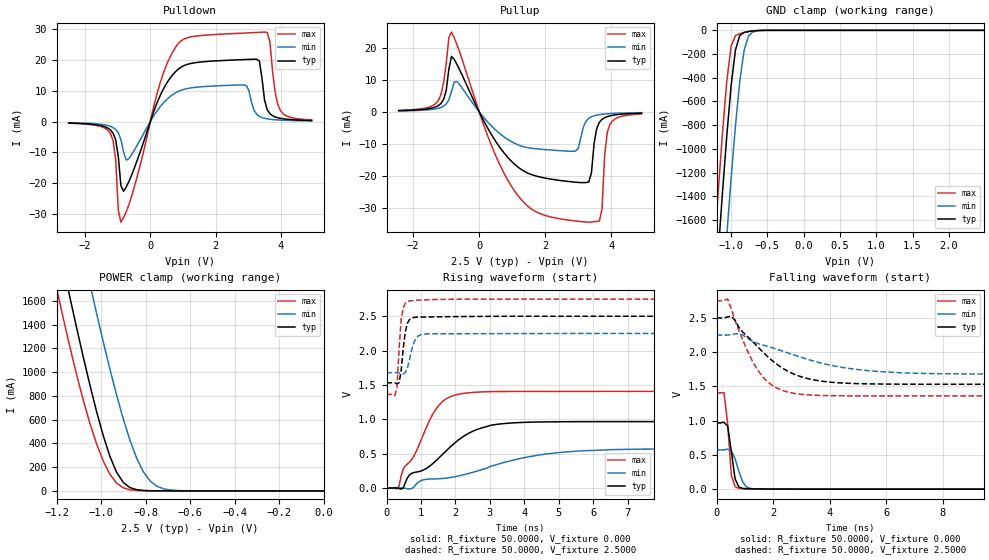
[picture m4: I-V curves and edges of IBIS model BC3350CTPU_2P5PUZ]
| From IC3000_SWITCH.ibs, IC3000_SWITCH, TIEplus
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|   Model BC3350CTPU_2P5PUZ
[Model]   BC3350CTPU_2P5PUZ
Model_type   I/O
Polarity   Non-Inverting
Enable   Active-Low
Vinl =   0.7500V
Vinh =   1.7500V
Vmeas =   1.2500V
Cref =  15.0000pF
Rref = 100.0000M
Vref =  0.000V
C_comp   1.5218pF   1.5459pF   1.5123pF
[Temperature Range]   25.0000   0.1250k   -40.0000
[Voltage Range]   2.5000V   2.2500V   2.7500V
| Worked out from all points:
|   slope of the pulldown table from 0 to 0.375 V, typ, clamps not added: 37.2 ohm
|   slope of the pullup table from 0 to 0.375 V, typ, clamps not added: 52.5 ohm
|   GND clamp passes 1 mA (typ) near -0.59 V on its own axis
|   POWER clamp passes 1 mA (typ) near -0.75 V on its own axis
|   rising waveform, R_fixture 50.0000, V_fixture 0.000: 20-80 % time 1.63ns typ, 3.12ns min, 911ps max; typ from 0 V to 0.967 V
|   rising waveform, R_fixture 50.0000, V_fixture 2.5000: 20-80 % time 132ps typ, 185ps min, 110ps max; typ from 1.53 V to 2.5 V
|   falling waveform, R_fixture 50.0000, V_fixture 0.000: 20-80 % time 197ps typ, 276ps min, 166ps max; typ from 0.967 V to 0 V
|   falling waveform, R_fixture 50.0000, V_fixture 2.5000: 20-80 % time 1.61ns typ, 2.84ns min, 994ps max; typ from 2.5 V to 1.53 V
[Pulldown]
| voltage   I(typ)   I(min)   I(max)
-2.5V     -467uA     -355uA     -521uA
-1.22V    -2.719mA   -1.548mA   -3.89mA
-1.06V    -5.93mA    -2.554mA   -12.42mA
-900mV    -20.83mA   -5.841mA   -32.72mA
-660mV    -19.6mA    -12.09mA   -27.16mA
380mV     10.17mA    5.837mA    15.14mA
1.02V     18.17mA    10.47mA    26.8mA
2.94V     20.21mA    11.72mA    28.84mA
3.26V     20.3mA     2.359mA    29mA
3.58V     3.907mA    903.9uA    29.01mA
3.98V     1.074mA    495.1uA    3.709mA
4.94V     373uA      234uA      572uA
[Pullup]
| voltage   I(typ)   I(min)   I(max)
-2.44V    386uA      291uA      479uA
-1.24V    1.945mA    1.132mA    3.544mA
-840mV    17.3mA     6.311mA    24.85mA
-680mV    14.89mA    9.474mA    21.07mA
1.08V     -16.37mA   -9.818mA   -24.74mA
2.92V     -21.89mA   -12.18mA   -33.96mA
3.32V     -21.82mA   -1.989mA   -34.34mA
3.56V     -5.145mA   -999.9uA   -34.1mA
3.72V     -2.328mA   -742.1uA   -30.34mA
3.8V      -1.8mA     -656.3uA   -13.54mA
3.96V     -1.227mA   -532.1uA   -3.918mA
4.92V     -412uA     -247uA     -636uA
[GND_clamp]
| voltage   I(typ)   I(min)   I(max)
-2.5V     -14.57A    -15.39A    -14.11A
-1.24V    -2.437A    -3.32A     -1.92A
-1.18V    -1.901A    -2.781A    -1.388A
-1.12V    -1.385A    -2.254A    -883mA
-1.06V    -898.7mA   -1.743A    -437mA
-1V       -472.1mA   -1.256A    -134.5mA
-940mV    -167.3mA   -809.4mA   -44.68mA
-880mV    -43.65mA   -430.8mA   -28.16mA
-820mV    -17.66mA   -168mA     -18.71mA
-760mV    -9.862mA   -47.59mA   -10.99mA
-700mV    -5.196mA   -13.22mA   -5.204mA
2.48V     104.5pA    201.3nA    85.44pA
[POWER_clamp]
| voltage   I(typ)   I(min)   I(max)
-2.49V    14.56A     15.39A     14.09A
-1.2V     2.157A     3.049A     1.709A
-1.14V    1.631A     2.515A     1.213A
-1.05V    891mA      1.742A     568.1mA
-1.02V    667.6mA    1.494A     395.8mA
-960mV    290.1mA    1.024A     139.6mA
-930mV    156.3mA    806.1mA    65.19mA
-900mV    70.81mA    604.8mA    26.03mA
-840mV    10.16mA    275.4mA    3.647mA
-780mV    1.777mA    84.15mA    1.23mA
-660mV    345.8uA    3.568mA    382.4uA
0V        107.3pA    2.193nA    101.5pA
[Ramp]
| variable   typ   min   max
dV/dt_r   0.5801/1.6072n   0.3429/3.1475n   0.8439/0.8921n
dV/dt_f   0.5811/1.5919n   0.3426/2.8083n   0.8330/0.9837n
R_load = 50.0000
[Rising Waveform]
R_fixture = 50.0000
V_fixture = 0.000
V_fixture_min = 0.000
V_fixture_max = 0.000
| time   V(typ)   V(min)   V(max)
0s        1.141nV    28.31nV    608.5pV
303ps     1.167mV    773.8uV    -16.01mV
484.8ps   1.286mV    -687.1uV   275.1mV
666.7ps   190.5mV    -14.02mV   377.3mV
1.394ns   378.1mV    132.9mV    1.117V
1.697ns   524.2mV    142.5mV    1.286V
2.061ns   688.8mV    172.5mV    1.362V
3.03ns    913.2mV    316.6mV    1.403V
5.273ns   965.2mV    527.4mV    1.406V
11.95ns   966.9mV    571.5mV    1.407V
[Rising Waveform]
R_fixture = 50.0000
V_fixture = 2.5000
V_fixture_min = 2.2500
V_fixture_max = 2.7500
| time   V(typ)   V(min)   V(max)
0s        1.532V     1.679V     1.362V
242.4ps   1.53V      1.68V      1.346V
303ps     1.514V     1.679V     1.465V
363.6ps   1.533V     1.673V     2.014V
424.2ps   1.703V     1.664V     2.448V
545.5ps   2.277V     1.684V     2.69V
606.1ps   2.398V     1.75V      2.714V
848.5ps   2.486V     2.174V     2.732V
1.091ns   2.488V     2.24V      2.738V
9.192ns   2.5V       2.25V      2.75V
[Falling Waveform]
R_fixture = 50.0000
V_fixture = 0.000
V_fixture_min = 0.000
V_fixture_max = 0.000
| time   V(typ)   V(min)   V(max)
0s        966.9mV    571.5mV    1.407V
262.6ps   976.8mV    574mV      1.411V
393.9ps   921.3mV    584.2mV    953.5mV
525.3ps   545.8mV    557.5mV    199.6mV
656.6ps   150.4mV    444mV      36.9mV
787.9ps   33.05mV    265.5mV    11.91mV
919.2ps   11.07mV    112.7mV    7.004mV
1.051ns   6.645mV    35.12mV    5.089mV
1.313ns   4.07mV     5.807mV    2.944mV
13ns      403.6nV    1.121uV    308.5nV
[Falling Waveform]
R_fixture = 50.0000
V_fixture = 2.5000
V_fixture_min = 2.2500
V_fixture_max = 2.7500
| time   V(typ)   V(min)   V(max)
0s        2.5V       2.25V      2.75V
393.9ps   2.515V     2.25V      2.776V
525.3ps   2.525V     2.257V     2.628V
1.051ns   2.245V     2.221V     2.059V
1.576ns   2.029V     2.113V     1.671V
1.97ns    1.877V     2.065V     1.516V
2.495ns   1.728V     1.994V     1.421V
3.677ns   1.579V     1.844V     1.368V
5.647ns   1.536V     1.721V     1.362V
13ns      1.532V     1.679V     1.362V
